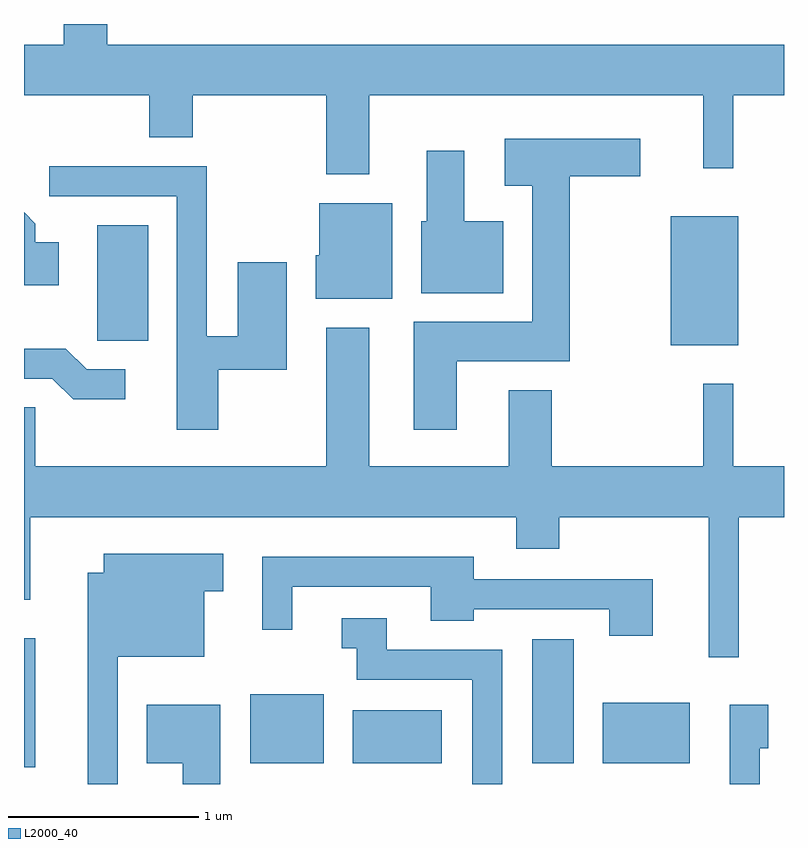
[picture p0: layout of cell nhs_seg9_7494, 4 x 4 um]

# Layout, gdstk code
import gdstk
lib = gdstk.Library(unit=1e-6, precision=1e-09)
def R(c, l, rs):  # rectangles x0, y0, x1, y1
    for r in rs: c.add(gdstk.rectangle(r[:2], r[2:], *l))
def P(c, l, *ps):  # polygons
    for p in ps: c.add(gdstk.Polygon(p, *l))
L2000_40 = (2000, 40)

nhs_seg9_7494 = lib.new_cell('nhs_seg9_7494')
R(nhs_seg9_7494, L2000_40, [(407.611,1970.521,407.669,1971.199), (408.801,1970.541,409.189,1970.904), (409.341,1970.541,409.809,1970.819), (410.286,1970.541,410.504,1971.194), (410.656,1970.541,411.114,1970.859), (411.016,1972.741,411.369,1973.419), (407.996,1972.766,408.264,1973.374)])
P(nhs_seg9_7494, L2000_40, [(409.429,1974.056),(411.186,1974.056),(411.186,1973.673),(411.344,1973.673),(411.344,1974.056),(411.611,1974.056),(411.611,1974.324),(408.049,1974.324),(408.049,1974.432),(407.821,1974.432),(407.821,1974.324),(407.611,1974.324),(407.611,1974.056),(408.271,1974.056),(408.271,1973.836),(408.499,1973.836),(408.499,1974.056),(409.201,1974.056),(409.201,1973.641),(409.429,1973.641)],
  [(409.889,1972.656),(410.484,1972.656),(410.484,1973.631),(410.854,1973.631),(410.854,1973.829),(410.141,1973.829),(410.141,1973.581),(410.286,1973.581),(410.286,1972.864),(409.661,1972.864),(409.661,1972.296),(409.889,1972.296)],
  [(410.134,1973.394),(409.929,1973.394),(409.929,1973.764),(409.731,1973.764),(409.731,1973.394),(409.701,1973.394),(409.701,1973.016),(410.134,1973.016)],
  [(408.634,1972.611),(408.994,1972.611),(408.994,1973.179),(408.736,1973.179),(408.736,1972.789),(408.574,1972.789),(408.574,1973.684),(407.743,1973.684),(407.743,1973.526),(408.416,1973.526),(408.416,1972.296),(408.634,1972.296)],
  [(409.549,1973.489),(409.166,1973.489),(409.166,1973.214),(409.146,1973.214),(409.146,1972.986),(409.549,1972.986)],
  [(407.794,1973.284),(407.669,1973.284),(407.669,1973.382),(407.611,1973.44),(407.611,1973.056),(407.794,1973.056)],
  [(410.389,1972.504),(410.161,1972.504),(410.161,1972.104),(409.429,1972.104),(409.429,1972.834),(409.201,1972.834),(409.201,1972.104),(407.669,1972.104),(407.669,1972.414),(407.611,1972.414),(407.611,1971.403),(407.644,1971.403),(407.644,1971.836),(410.201,1971.836),(410.201,1971.671),(410.429,1971.671),(410.429,1971.836),(411.216,1971.836),(411.216,1971.098),(411.374,1971.098),(411.374,1971.836),(411.611,1971.836),(411.611,1972.104),(411.344,1972.104),(411.344,1972.538),(411.186,1972.538),(411.186,1972.104),(410.389,1972.104)],
  [(408.143,1972.614),(407.942,1972.614),(407.832,1972.724),(407.611,1972.724),(407.611,1972.566),(407.759,1972.566),(407.869,1972.456),(408.143,1972.456)],
  [(408.104,1971.101),(408.559,1971.101),(408.559,1971.446),(408.659,1971.446),(408.659,1971.644),(408.031,1971.644),(408.031,1971.544),(407.946,1971.544),(407.946,1970.432),(408.104,1970.432)],
  [(410.919,1971.509),(409.979,1971.509),(409.979,1971.629),(408.866,1971.629),(408.866,1971.243),(409.024,1971.243),(409.024,1971.471),(409.751,1971.471),(409.751,1971.291),(409.979,1971.291),(409.979,1971.351),(410.691,1971.351),(410.691,1971.211),(410.919,1971.211)],
  [(410.129,1971.139),(409.519,1971.139),(409.519,1971.304),(409.283,1971.304),(409.283,1971.146),(409.361,1971.146),(409.361,1970.981),(409.971,1970.981),(409.971,1970.432),(410.129,1970.432)],
  [(411.484,1970.621),(411.529,1970.621),(411.529,1970.849),(411.326,1970.849),(411.326,1970.432),(411.484,1970.432)],
  [(408.644,1970.849),(408.256,1970.849),(408.256,1970.541),(408.446,1970.541),(408.446,1970.432),(408.644,1970.432)])

lib.write_gds('nhs_seg9_7494.gds')
